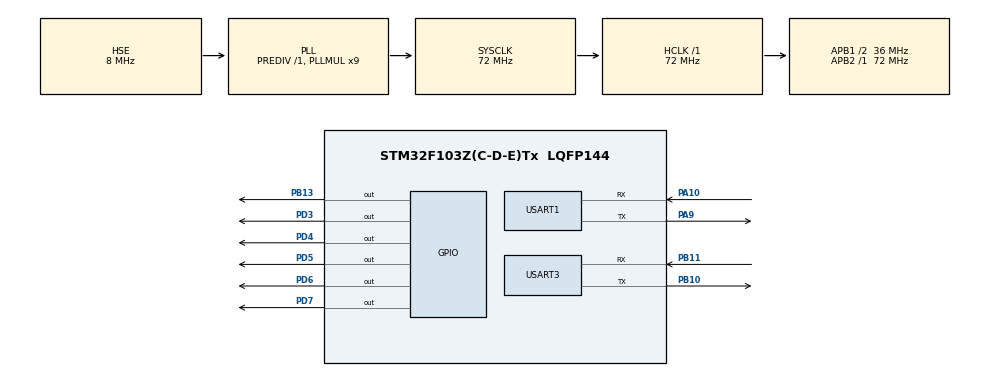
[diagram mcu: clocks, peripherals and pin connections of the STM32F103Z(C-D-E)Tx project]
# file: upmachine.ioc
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Mcu.Family=STM32F1
Mcu.Name=STM32F103Z(C-D-E)Tx
Mcu.Package=LQFP144
NVIC.PriorityGroup=NVIC_PRIORITYGROUP_4
NVIC.USART1_IRQn=true\:0\:0\:false\:false\:true\:true\:true
NVIC.USART3_IRQn=true\:0\:0\:false\:false\:true\:true\:true
OSC_IN.Mode=HSE-External-Oscillator
OSC_IN.Signal=RCC_OSC_IN
OSC_OUT.Mode=HSE-External-Oscillator
OSC_OUT.Signal=RCC_OSC_OUT
PA10.Mode=Asynchronous
PA10.Signal=USART1_RX
PA9.Mode=Asynchronous
PA9.Signal=USART1_TX
PB10.Mode=Asynchronous
PB10.Signal=USART3_TX
PB11.Mode=Asynchronous
PB11.Signal=USART3_RX
PB13.GPIO_PuPd=GPIO_PULLUP
PB13.GPIO_Speed=GPIO_SPEED_FREQ_HIGH
PB13.Signal=GPIO_Output
PC14-OSC32_IN.Mode=LSE-External-Oscillator
PC14-OSC32_IN.Signal=RCC_OSC32_IN
PC15-OSC32_OUT.Mode=LSE-External-Oscillator
PC15-OSC32_OUT.Signal=RCC_OSC32_OUT
PD3.GPIO_ModeDefaultOutputPP=GPIO_MODE_OUTPUT_PP
PD3.GPIO_PuPd=GPIO_PULLUP
PD3.GPIO_Speed=GPIO_SPEED_FREQ_HIGH
PD3.PinState=GPIO_PIN_SET
PD3.Signal=GPIO_Output
PD4.GPIO_PuPd=GPIO_PULLUP
PD4.GPIO_Speed=GPIO_SPEED_FREQ_HIGH
PD4.PinState=GPIO_PIN_SET
PD4.Signal=GPIO_Output
PD5.GPIO_PuPd=GPIO_PULLUP
PD5.GPIO_Speed=GPIO_SPEED_FREQ_HIGH
PD5.PinState=GPIO_PIN_SET
PD5.Signal=GPIO_Output
PD6.GPIO_PuPd=GPIO_PULLUP
PD6.GPIO_Speed=GPIO_SPEED_FREQ_HIGH
PD6.PinState=GPIO_PIN_SET
PD6.Signal=GPIO_Output
PD7.GPIO_ModeDefaultOutputPP=GPIO_MODE_OUTPUT_PP
PD7.GPIO_PuPd=GPIO_PULLUP
PD7.GPIO_Speed=GPIO_SPEED_FREQ_HIGH
PD7.PinState=GPIO_PIN_SET
PD7.Signal=GPIO_Output
ProjectManager.HeapSize=0x200
ProjectManager.StackSize=0x400
ProjectManager.TargetToolchain=MDK-ARM V5
RCC.AHBFreq_Value=72000000
RCC.APB1CLKDivider=RCC_HCLK_DIV2
RCC.APB1Freq_Value=36000000
RCC.APB1TimFreq_Value=72000000
RCC.APB2Freq_Value=72000000
RCC.APB2TimFreq_Value=72000000
RCC.HCLKFreq_Value=72000000
RCC.PLLMUL=RCC_PLL_MUL9
RCC.PLLSourceVirtual=RCC_PLLSOURCE_HSE
RCC.SYSCLKFreq_VALUE=72000000
RCC.SYSCLKSource=RCC_SYSCLKSOURCE_PLLCLK
RCC.USBFreq_Value=72000000
USART1.VirtualMode=VM_ASYNC
USART3.VirtualMode=VM_ASYNC
VP_SYS_VS_ND.Mode=No_Debug
board=custom

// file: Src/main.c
/* USER CODE BEGIN Header */
/**
  ******************************************************************************
  * @file           : main.c
  * @brief          : Main program body
  ******************************************************************************
  * @attention
  *
  * <h2><center>&copy; Copyright (c) 2019 STMicroelectronics.
  * All rights reserved.</center></h2>
  *
  * This software component is licensed by ST under BSD 3-Clause license,
  * the "License"; You may not use this file except in compliance with the
  * License. You may obtain a copy of the License at:
  *                        opensource.org/licenses/BSD-3-Clause
  *
  ******************************************************************************
  */
/* USER CODE END Header */

#include "main.h"
#include "usart.h"
#include "gpio.h"
#include "oled.h"
#include "stdio.h"

/* USER CODE BEGIN PV */
uint8_t temp;
uint8_t MaxConTemp;
volatile uint8_t FIFO[6]={0};
volatile uint8_t MaxConFIFO[6]={0};
volatile uint8_t MaxConFinish = 0;
volatile uint8_t finish = 0;
uint32_t conver[3]={0};
uint8_t beep = 0;
float concentration[3]={0};
volatile float MaxCon[3]={25.25,25.25,25.25};
/* USER CODE END PV */

void SystemClock_Config(void);

int main(void)
{

  /* MCU Configuration--------------------------------------------------------*/

  /* Reset of all peripherals, Initializes the Flash interface and the Systick. */
  HAL_Init();

  /* Configure the system clock */
  SystemClock_Config();

  /* Initialize all configured peripherals */
  MX_GPIO_Init();
  MX_USART3_UART_Init();
  MX_USART1_UART_Init();
  /* USER CODE BEGIN 2 */
	OLED_Init();
	HAL_UART_Receive_IT(&huart3,&temp,1);
	HAL_UART_Receive_IT(&huart1,&MaxConTemp,1);
  /* USER CODE END 2 */

  /* Infinite loop */
  /* USER CODE BEGIN WHILE */
  while (1)
  {
		if(MaxConFinish == 1)
		{
			conver[0] = MaxConFIFO[0]*100+MaxConFIFO[1];
			conver[1] = MaxConFIFO[2]*100+MaxConFIFO[3];
			conver[2] = MaxConFIFO[4]*100+MaxConFIFO[5];

			MaxCon[0] = (float)conver[0]/100.0;
			MaxCon[1] = (float)conver[1]/100.0;
			MaxCon[2] = (float)conver[2]/100.0;
			OLED_Clear();
			OLED_ShowString(2,0,"succeed!");
			OLED_ShowString(2,2,"CO:");
			OLED_ShowFloat(50,2,MaxCon[0],16);
			OLED_ShowString(98,2,"%");
			OLED_ShowString(2,4,"CH4:");
			OLED_ShowFloat(50,4,MaxCon[1],16);
			OLED_ShowString(98,4,"%");
			OLED_ShowString(2,6,"Smog:");
			OLED_ShowFloat(50,6,MaxCon[2],16);
			OLED_ShowString(98,6,"%");
			MaxConFinish = 0;
			HAL_Delay(2000);
		}
		if(finish == 1)
		{
			conver[0] = FIFO[0]*100+FIFO[1];
			conver[1] = FIFO[2]*100+FIFO[3];
			conver[2] = FIFO[4]*100+FIFO[5];

			concentration[0] = (float)conver[0]/100.0;
			concentration[1] = (float)conver[1]/100.0;
			concentration[2] = (float)conver[2]/100.0;
			if(concentration[0] > MaxCon[0]){
				beep = 1;
			}else if(concentration[1] > MaxCon[1]){
				beep = 1;
			}else if(concentration[2] > MaxCon[2]){
				beep = 1;
			}else{
				beep = 0;
			}

			if(beep == 1)
			{
				sendbyte(0xaa);
				GPIOB->BSRR = 0x00002000;
				printf("Alarm\r\n");
			}else if(beep == 0){
				sendbyte(0xcc);
				GPIOB->BSRR = 0x20000000;
			}

			OLED_Clear();
			OLED_ShowString(2,2,"CO:");
			OLED_ShowFloat(50,2,concentration[0],16);
			OLED_ShowString(98,2,"%");
			OLED_ShowString(2,4,"CH4:");
			OLED_ShowFloat(50,4,concentration[1],16);
			OLED_ShowString(98,4,"%");
			OLED_ShowString(2,6,"Smog:");
			OLED_ShowFloat(50,6,concentration[2],16);
			OLED_ShowString(98,6,"%");
			printf("CO = %0.2f%% CH4 = %0.2f%% Smog = %0.2f%%\r\n",concentration[0],concentration[1],concentration[2]);
			finish = 0;
		}
    /* USER CODE END WHILE */

  }
}

void SystemClock_Config(void)
{
  RCC_OscInitTypeDef RCC_OscInitStruct = {0};
  RCC_ClkInitTypeDef RCC_ClkInitStruct = {0};

  /** Initializes the CPU, AHB and APB busses clocks
  */
  RCC_OscInitStruct.OscillatorType = RCC_OSCILLATORTYPE_HSE;
  RCC_OscInitStruct.HSEState = RCC_HSE_ON;
  RCC_OscInitStruct.HSEPredivValue = RCC_HSE_PREDIV_DIV1;
  RCC_OscInitStruct.HSIState = RCC_HSI_ON;
  RCC_OscInitStruct.PLL.PLLState = RCC_PLL_ON;
  RCC_OscInitStruct.PLL.PLLSource = RCC_PLLSOURCE_HSE;
  RCC_OscInitStruct.PLL.PLLMUL = RCC_PLL_MUL9;
  if (HAL_RCC_OscConfig(&RCC_OscInitStruct) != HAL_OK)
  {
    Error_Handler();
  }
  /** Initializes the CPU, AHB and APB busses clocks
  */
  RCC_ClkInitStruct.ClockType = RCC_CLOCKTYPE_HCLK|RCC_CLOCKTYPE_SYSCLK
                              |RCC_CLOCKTYPE_PCLK1|RCC_CLOCKTYPE_PCLK2;
  RCC_ClkInitStruct.SYSCLKSource = RCC_SYSCLKSOURCE_PLLCLK;
  RCC_ClkInitStruct.AHBCLKDivider = RCC_SYSCLK_DIV1;
  RCC_ClkInitStruct.APB1CLKDivider = RCC_HCLK_DIV2;
  RCC_ClkInitStruct.APB2CLKDivider = RCC_HCLK_DIV1;

  if (HAL_RCC_ClockConfig(&RCC_ClkInitStruct, FLASH_LATENCY_2) != HAL_OK)
  {
    Error_Handler();
  }
}

/* USER CODE BEGIN 4 */

void HAL_UART_RxCpltCallback(UART_HandleTypeDef *huart)
{
	static uint8_t i,j = 0;
	static uint8_t vis,MaxConVis = 0;
  /* Prevent unused argument(s) compilation warning */
  UNUSED(huart);
  /* NOTE: This function Should not be modified, when the callback is needed,
           the HAL_UART_RxCpltCallback could be implemented in the user file
   */
	if(huart->Instance == USART3)
	{
		//OLED_ShowString(20,1,"T:");
		if(finish == 0)
		{
			if(temp == 0xff){
				vis = 1;
			}else if(vis == 1){
				FIFO[i] = temp;
				i++;
				if(i>=6)
				{
					i = 0;
					vis = 0;
					finish = 1;
				}
			}
		}
		HAL_UART_Receive_IT(&huart3,&temp,1);
	}else if(huart->Instance == USART1){
		if(MaxConFinish == 0)
		{
			if(MaxConTemp == 0xfe){
				MaxConVis = 1;
			}else if(MaxConVis == 1){
				MaxConFIFO[j] = MaxConTemp;
				j++;
				if(j>=6)
				{
					j = 0;
					MaxConVis = 0;
					MaxConFinish = 1;
				}
			}
		}
		HAL_UART_Receive_IT(&huart1,&MaxConTemp,1);
	}
}
/* USER CODE END 4 */

void Error_Handler(void)
{
}

/************************ (C) COPYRIGHT STMicroelectronics *****END OF FILE****/
